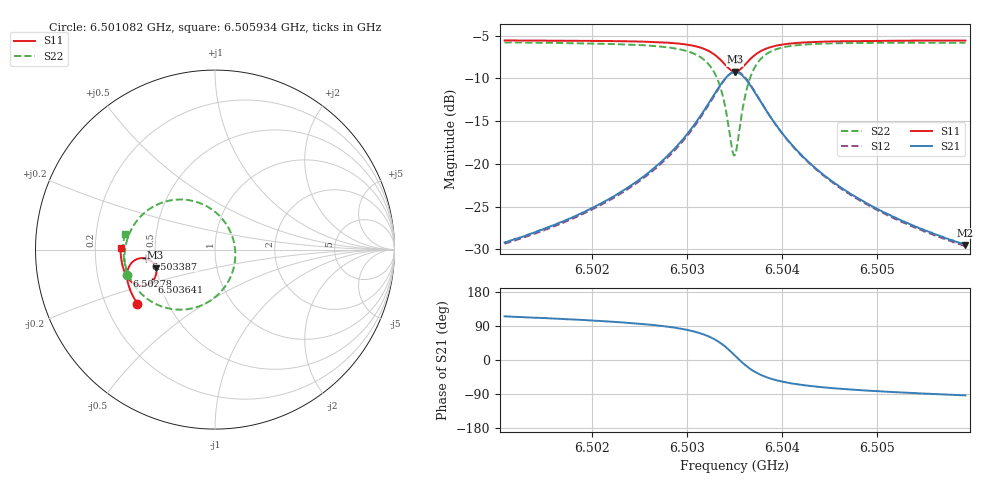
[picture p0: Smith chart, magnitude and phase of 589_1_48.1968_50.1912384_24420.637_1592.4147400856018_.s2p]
#  HZ  S  RI  R  50.00
! Rohde & Schwarz Vector Network Analyzer
! Rohde-Schwarz,ZNB20-2Port,1311601062101988,3.16
! Created: UTC 3/20/2024, 12:02:31 PM
! freq[Hz]  re:S11  im:S11  re:S21  im:S21  re:S12  im:S12  re:S22  im:S22
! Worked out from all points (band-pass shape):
!   401 points, 6.501082 GHz to 6.505934 GHz, reference 50 ohm
!   highest |S21| = -9.27 dB at 6.503508 GHz (marker M1); lowest = -29.5 dB at 6.505934 GHz (marker M2)
!   |S21| within 3 dB of the highest: 6.503268 GHz to 6.503752 GHz (484.2 kHz wide, 0.00745 % of centre)
!   lowest |S11| = -9.2 dB at 6.503508 GHz (marker M3), VSWR 2.06, Z = 24.7 - j5.66 ohm
!   |S11| at or under -10 dB: nowhere
!   |S22| runs from -19.0 to -5.8 dB; largest |S21 - S12| = 0.012
!   S11 on the Smith chart (normalised r, x): 6.501082 GHz: 0.34, -0.28; 6.50278 GHz: 0.33, -0.13; 6.503387 GHz: 0.44, -0.05; 6.503641 GHz: 0.45, -0.19; 6.505934 GHz: 0.31, +0.01
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6.5010823e9  -0.4322 -0.3012  -0.0148 0.0314  -0.013 0.0314  -0.4927 -0.1438
6.5018948e9  -0.4663 -0.2402  -0.0139 0.0496  -0.0115 0.0492  -0.504 -0.0556
6.5023557e9  -0.4819 -0.1982  -0.0105 0.0704  -0.00765 0.0693  -0.4993 0.0122
6.5027074e9  -0.4897 -0.1582  -0.00125 0.1  0.00232 0.0976  -0.4786 0.0858
6.5027802e9  -0.4902 -0.1482  0.00266 0.1089  0.00637 0.1063  -0.4698 0.1052
6.5029864e9  -0.4863 -0.1146  0.0242 0.143  0.0279 0.1387  -0.4251 0.173
6.503144e9  -0.4714 -0.0824  0.064 0.1794  0.0665 0.1736  -0.3481 0.2369
6.5032896e9  -0.4333 -0.0526  0.146 0.2087  0.1467 0.2026  -0.1984 0.2789
6.5033381e9  -0.412 -0.0475  0.189 0.2078  0.1889 0.2023  -0.1231 0.271
6.5033866e9  -0.3863 -0.0494  0.2384 0.1928  0.2386 0.1885  -0.0383 0.237
6.5034715e9  -0.3423 -0.0785  0.3187 0.1182  0.3211 0.1144  0.0902 0.0898
6.5035079e9  -0.3309 -0.1009  0.337 0.0687  0.3411 0.0636  0.1125 -0.00307
6.5035321e9  -0.3276 -0.1175  0.3408 0.0335  0.3453 0.0271  0.1108 -0.0676
6.5035685e9  -0.3296 -0.1421  0.3341 -0.0178  0.3379 -0.0264  0.0841 -0.1586
6.5036413e9  -0.3518 -0.1803  0.2869 -0.0962  0.2873 -0.1076  -0.0274 -0.2856
6.5037383e9  -0.3936 -0.2007  0.207 -0.1408  0.2025 -0.151  -0.19 -0.3345
6.503896e9  -0.4437 -0.1935  0.1171 -0.1401  0.1101 -0.1459  -0.3535 -0.2904
6.5040658e9  -0.4734 -0.1723  0.0683 -0.119  0.062 -0.1214  -0.4329 -0.2219
6.5043205e9  -0.496 -0.1407  0.035 -0.0918  0.0301 -0.0923  -0.4811 -0.1432
6.5046965e9  -0.5122 -0.1007  0.0149 -0.0667  0.0117 -0.0663  -0.5046 -0.0652
6.5051331e9  -0.5213 -0.0596  0.00525 -0.0501  0.0029 -0.0493  -0.5106 -0.00144
6.5059335e9  -0.5264 0.00877  -0.00198 -0.0335  -0.00342 -0.0328  -0.5036 0.0854
